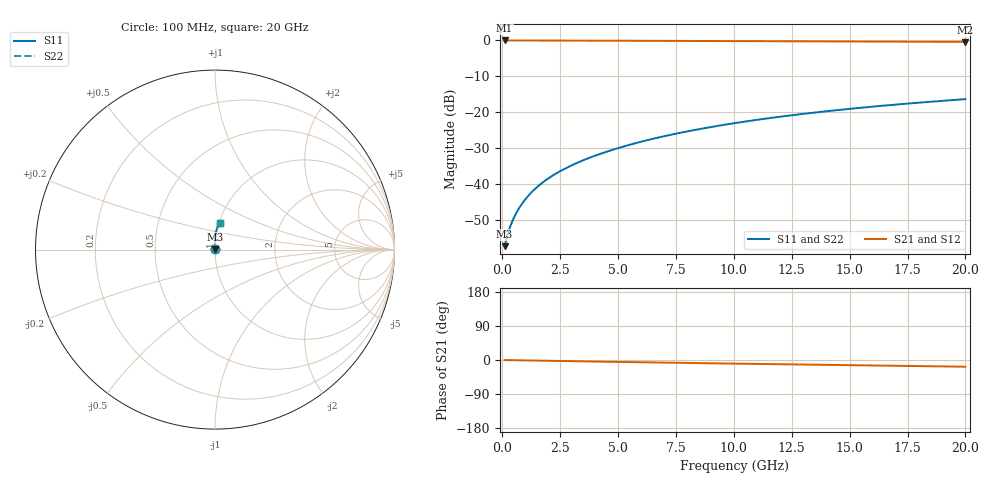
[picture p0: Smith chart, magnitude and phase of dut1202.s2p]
! Touchstone file exported from HFSS 2024.1.0
!  File:  C:/UserFiles/LocalFiles/RDL_TSV_Batchsim/temp_RDL_bottom_1202_1780243321.aedt
!  Generated:  12:04:12 AM Jun  1, 2026
!  Design:  RDL_bottom
!  Project:  temp_RDL_bottom_1202_1780243321
!  Setup:  Setup1
!  Solution:  Sweep
! Variables:
!  dtsv = 10.80580581um
!  hbump = 3um
!  htsv = 52.98um
!  ldown = 270.29um
!  lrdl = 100um
!  p = 40
!  p1 = 40.22um
!  rhole = 1um
!  t = 450um
!  tdown = 4.17um
!  trdl = 3.915915916um
!  wdown = 23.89um
!  wrdl = 20um
# GHz S MA R 50.000000
! Terminal data exported
! Port[1] = RDL1_T1
! Port[2] = RDL1_T2
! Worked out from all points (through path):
!   200 points, 100 MHz to 20 GHz, reference 50 ohm
!   highest |S21| = -0.01 dB at 100 MHz (marker M1); lowest = -0.4 dB at 20 GHz (marker M2)
!   group delay of S21, straight-line fit = 2.42 ps
!   lowest |S11| = -57.3 dB at 100 MHz (marker M3), VSWR 1.00, Z = 50.1 + j0.0713 ohm
!   |S11| at or under -10 dB: start of sweep to end of sweep
!   |S22| runs from -57.3 to -16.4 dB; largest |S21 - S12| = 4.5e-15
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0.1  0.001365 31.4  0.9988 -0.1  0.9988 -0.1  0.001365 31.4
! Gamma 0 0 0 0
! Port Impedance 50 0 50 0
0.2  0.00184 47.3  0.9987 -0.2  0.9987 -0.2  0.00184 47.3
0.3  0.002345 56.0  0.9986 -0.3  0.9986 -0.3  0.002345 56.0
0.4  0.00286 61.9  0.9985 -0.4  0.9985 -0.4  0.002859 61.9
0.5  0.003385 66.2  0.9985 -0.5  0.9985 -0.5  0.003385 66.2
0.6  0.003923 69.6  0.9984 -0.6  0.9984 -0.6  0.003923 69.6
0.8  0.005028 74.3  0.9983 -0.8  0.9983 -0.8  0.005028 74.3
1  0.006162 77.6  0.9981 -1.1  0.9981 -1.1  0.006162 77.6
1.2  0.007314 79.9  0.9979 -1.3  0.9979 -1.3  0.007314 79.9
1.4  0.008482 81.7  0.9977 -1.5  0.9977 -1.5  0.008482 81.7
1.7  0.01026 83.7  0.9974 -1.8  0.9974 -1.8  0.01026 83.7
2.2  0.01327 86.0  0.9966 -2.3  0.9966 -2.3  0.01327 86.0
2.8  0.01699 87.9  0.9956 -2.9  0.9956 -2.9  0.01699 87.9
3.5  0.02147 89.5  0.9942 -3.6  0.9942 -3.6  0.02147 89.5
4.2  0.02612 90.5  0.9925 -4.3  0.9925 -4.3  0.02612 90.5
5  0.03166 91.3  0.9905 -5.1  0.9905 -5.1  0.03166 91.3
6.8  0.04488 91.8  0.9857 -6.7  0.9857 -6.7  0.04488 91.8
8.4  0.05735 91.3  0.9813 -8.1  0.9813 -8.1  0.05734 91.3
10.1  0.07106 90.1  0.9769 -9.6  0.9769 -9.6  0.07106 90.1
13.4  0.09826 87.1  0.9689 -12.4  0.9689 -12.4  0.09826 87.2
16.7  0.1254 83.8  0.9615 -15.0  0.9615 -15.0  0.1254 83.8
20  0.1521 80.4  0.9544 -17.7  0.9544 -17.7  0.1521 80.4
